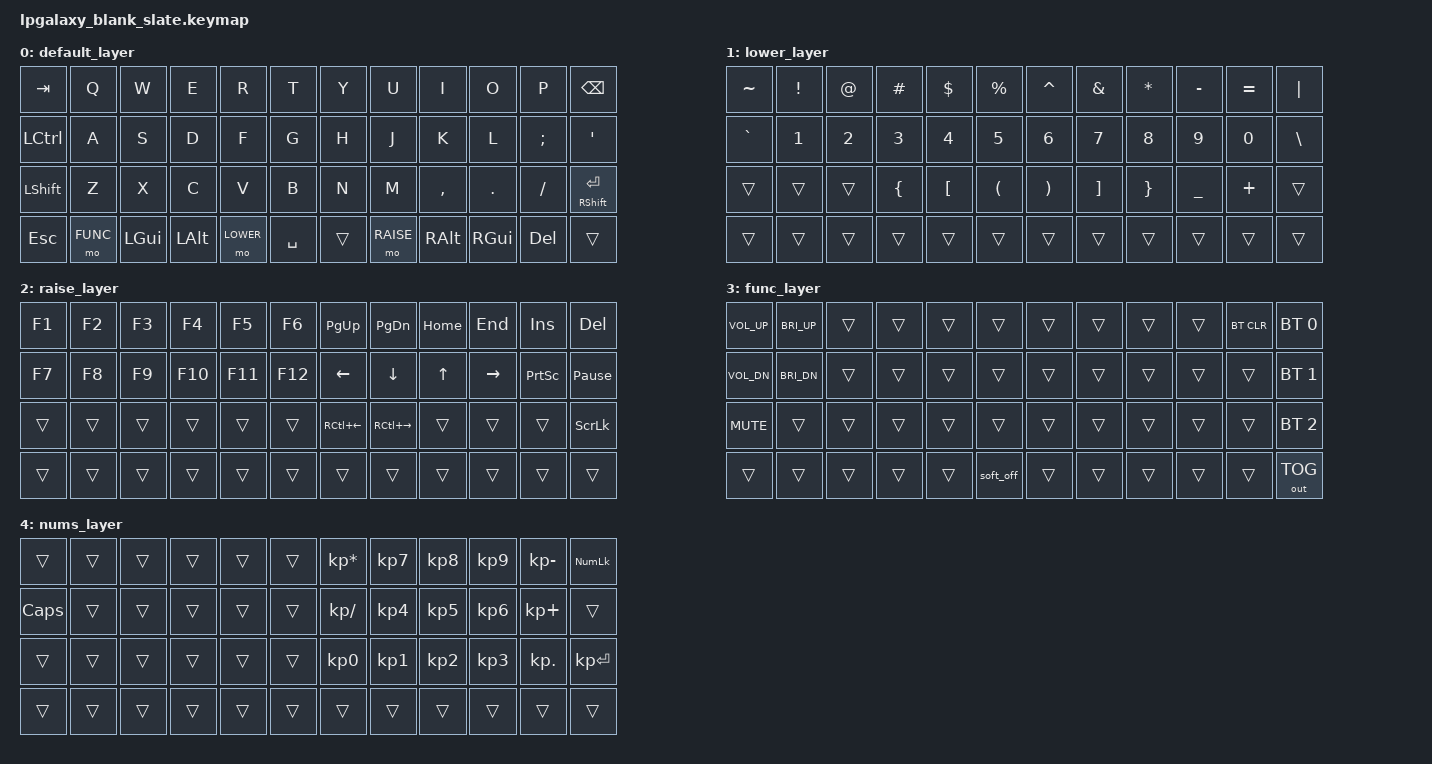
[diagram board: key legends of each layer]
/*
 * Copyright (c) 2025 The ZMK Contributors
 * SPDX-License-Identifier: MIT
 */

#include <behaviors.dtsi>
#include <dt-bindings/zmk/keys.h>
#include <dt-bindings/zmk/bt.h>
#include <dt-bindings/zmk/outputs.h>

#define DEFAULT 0
#define LOWER   1
#define RAISE   2
#define FUNC    3
#define NUMS    4

/ {
    conditional_layers {
        compatible="zmk,conditional-layers";
        tri_layer {
            if-layers = <LOWER RAISE>;
            then-layer = <NUMS>;
        };
    };

    keymap {
        compatible = "zmk,keymap";

        default_layer {
            bindings = <
    &kp TAB    &kp Q    &kp W    &kp E    &kp R     &kp T     &kp Y  &kp U     &kp I     &kp O    &kp P    &kp BSPC
    &kp LCTRL  &kp A    &kp S    &kp D    &kp F     &kp G     &kp H  &kp J     &kp K     &kp L    &kp SEMI &kp SQT
    &kp LSHIFT &kp Z    &kp X    &kp C    &kp V     &kp B     &kp N  &kp M     &kp COMMA &kp DOT  &kp FSLH &mt RSHIFT ENTER
    &kp ESC    &mo FUNC &kp LGUI &kp LALT &mo LOWER &kp SPACE &trans &mo RAISE &kp RALT  &kp RGUI &kp DEL  &trans
            >;
        };

        lower_layer {
            bindings = <
    &kp TILDE &kp EXCL &kp AT &kp HASH &kp DLLR &kp PRCNT &kp CARET &kp AMPS &kp ASTRK &kp MINUS &kp EQUAL &kp PIPE
    &kp GRAVE &kp N1   &kp N2 &kp N3   &kp N4   &kp N5    &kp N6    &kp N7   &kp N8    &kp N9    &kp N0    &kp BSLH
    &trans    &trans   &trans &kp LBRC &kp LBKT &kp LPAR  &kp RPAR  &kp RBKT &kp RBRC  &kp UNDER &kp PLUS  &trans
    &trans    &trans   &trans &trans   &trans   &trans    &trans    &trans   &trans    &trans    &trans    &trans
            >;
        };

        raise_layer {
            bindings = <
    &kp F1 &kp F2 &kp F3 &kp F4  &kp F5  &kp F6  &kp PG_UP    &kp PG_DN     &kp HOME &kp END   &kp INS   &kp DEL
    &kp F7 &kp F8 &kp F9 &kp F10 &kp F11 &kp F12 &kp LEFT     &kp DOWN      &kp UP   &kp RIGHT &kp PSCRN &kp PAUSE_BREAK
    &trans &trans &trans &trans  &trans  &trans  &kp RC(LEFT) &kp RC(RIGHT) &trans   &trans    &trans    &kp SLCK
    &trans &trans &trans &trans  &trans  &trans  &trans       &trans        &trans   &trans    &trans    &trans
            >;
        };

        func_layer {
            bindings = <
    &kp C_VOL_UP &kp C_BRI_UP &trans &trans &trans &trans    &trans &trans &trans &trans &bt BT_CLR &bt BT_SEL 0
    &kp C_VOL_DN &kp C_BRI_DN &trans &trans &trans &trans    &trans &trans &trans &trans &trans     &bt BT_SEL 1
    &kp C_MUTE   &trans       &trans &trans &trans &trans    &trans &trans &trans &trans &trans     &bt BT_SEL 2
    &trans       &trans       &trans &trans &trans &soft_off &trans &trans &trans &trans &trans     &out OUT_TOG
            >;
        };

        nums_layer {
            bindings = <
    &trans   &trans &trans &trans &trans &trans &kp KP_ASTERISK &kp KP_N7 &kp KP_N8 &kp KP_N9 &kp KP_MINUS &kp KP_NUM
    &kp CAPS &trans &trans &trans &trans &trans &kp KP_SLASH    &kp KP_N4 &kp KP_N5 &kp KP_N6 &kp KP_PLUS  &trans
    &trans   &trans &trans &trans &trans &trans &kp KP_N0       &kp KP_N1 &kp KP_N2 &kp KP_N3 &kp KP_DOT   &kp KP_ENTER
    &trans   &trans &trans &trans &trans &trans &trans          &trans    &trans    &trans    &trans       &trans
            >;
        };
    };
};
